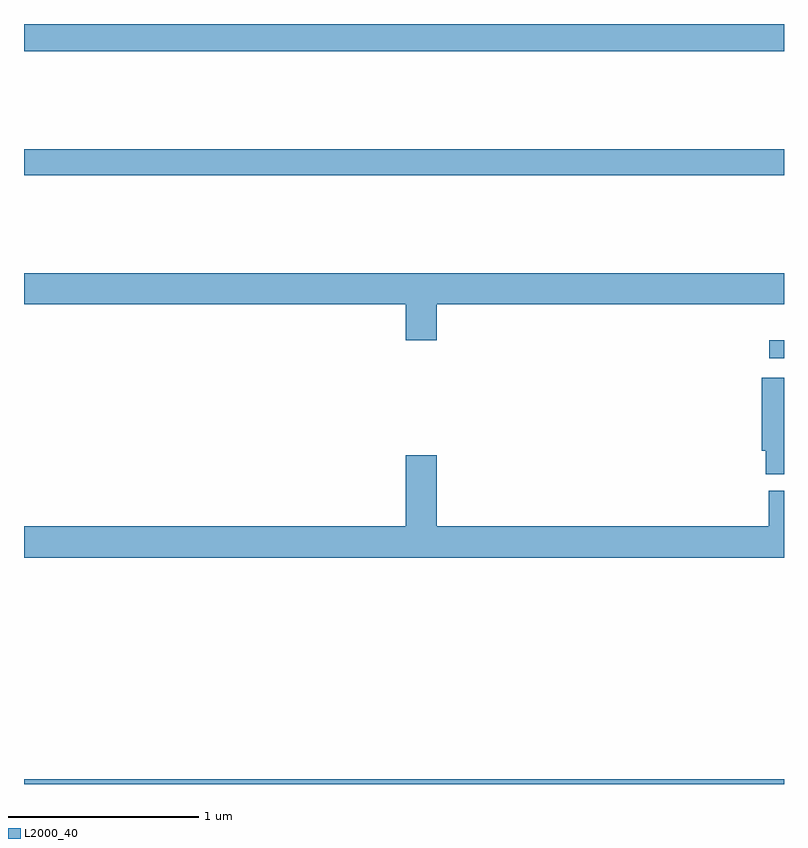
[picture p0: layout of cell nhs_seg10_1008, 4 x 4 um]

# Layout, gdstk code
import gdstk
lib = gdstk.Library(unit=1e-6, precision=1e-09)
def R(c, l, rs):  # rectangles x0, y0, x1, y1
    for r in rs: c.add(gdstk.rectangle(r[:2], r[2:], *l))
def P(c, l, *ps):  # polygons
    for p in ps: c.add(gdstk.Polygon(p, *l))
L2000_40 = (2000, 40)

nhs_seg10_1008 = lib.new_cell('nhs_seg10_1008')
R(nhs_seg10_1008, L2000_40, [(163,1256.5,167,1256.524), (166.923,1258.74,167,1258.836), (163,1259.704,167,1259.84), (163,1260.356,167,1260.5)])
P(nhs_seg10_1008, L2000_40, [(165.172,1259.024),(167,1259.024),(167,1259.188),(163,1259.188),(163,1259.024),(165.008,1259.024),(165.008,1258.836),(165.172,1258.836)],
  [(167,1258.639),(166.883,1258.639),(166.883,1258.254),(166.904,1258.254),(166.904,1258.129),(167,1258.129)],
  [(167,1258.044),(166.919,1258.044),(166.919,1257.856),(165.172,1257.856),(165.172,1258.231),(165.008,1258.231),(165.008,1257.856),(163,1257.856),(163,1257.692),(167,1257.692)])

lib.write_gds('nhs_seg10_1008.gds')
